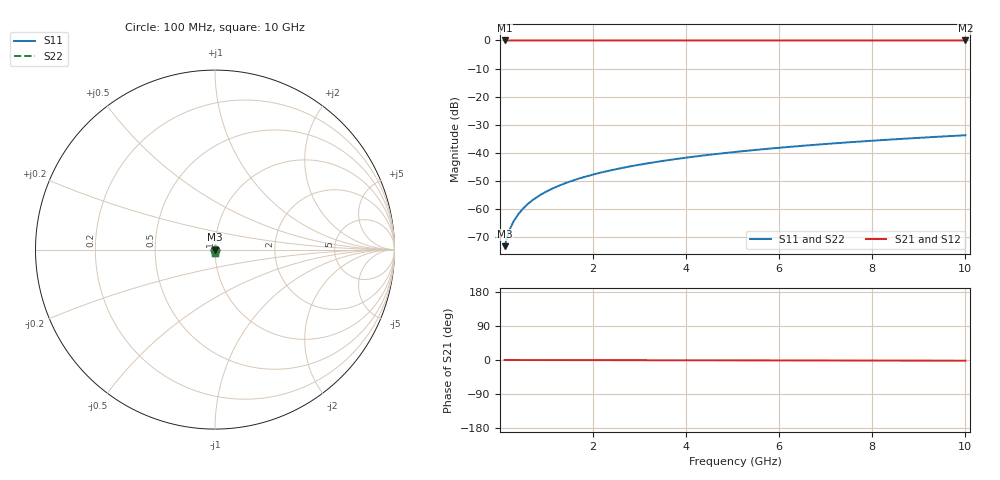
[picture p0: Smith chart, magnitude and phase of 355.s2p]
# Hz S RI R 50.00
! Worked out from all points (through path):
!   100 points, 100 MHz to 10 GHz, reference 50 ohm
!   highest |S21| = 0.00 dB at 100 MHz (marker M1); lowest = 0.0 dB at 10 GHz (marker M2)
!   lowest |S11| = -73.2 dB at 100 MHz (marker M3), VSWR 1.00, Z = 50 - j0.0205 ohm
!   |S11| at or under -10 dB: start of sweep to end of sweep
!   |S22| runs from -73.2 to -33.7 dB; largest |S21 - S12| = 0
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1e8  7.52e-05 -0.000205  0.9999 -0.000321  0.9999 -0.000321  7.52e-05 -0.000205
2e8  7.53e-05 -0.00041  0.9999 -0.000642  0.9999 -0.000642  7.53e-05 -0.00041
3e8  7.51e-05 -0.000616  0.9999 -0.000962  0.9999 -0.000962  7.51e-05 -0.000616
4e8  7.47e-05 -0.000821  0.9999 -0.00128  0.9999 -0.00128  7.47e-05 -0.000821
5e8  7.41e-05 -0.00103  0.9999 -0.0016  0.9999 -0.0016  7.41e-05 -0.00103
6e8  7.33e-05 -0.00123  0.9999 -0.00192  0.9999 -0.00192  7.33e-05 -0.00123
7e8  7.24e-05 -0.00144  0.9999 -0.00225  0.9999 -0.00225  7.24e-05 -0.00144
8e8  7.14e-05 -0.00164  0.9999 -0.00257  0.9999 -0.00257  7.14e-05 -0.00164
9e8  7.02e-05 -0.00185  0.9999 -0.00289  0.9999 -0.00289  7.02e-05 -0.00185
1.1e9  6.74e-05 -0.00226  0.9999 -0.00353  0.9999 -0.00353  6.74e-05 -0.00226
1.4e9  6.22e-05 -0.00287  0.9999 -0.00449  0.9999 -0.00449  6.22e-05 -0.00287
1.8e9  5.33e-05 -0.00369  0.9999 -0.00578  0.9999 -0.00578  5.33e-05 -0.00369
2.1e9  4.52e-05 -0.00431  0.9999 -0.00674  0.9999 -0.00674  4.52e-05 -0.00431
2.5e9  3.26e-05 -0.00513  0.9999 -0.00802  0.9999 -0.00802  3.26e-05 -0.00513
2.9e9  1.78e-05 -0.00595  0.9999 -0.00931  0.9999 -0.00931  1.78e-05 -0.00595
3.4e9  -3.68e-06 -0.00698  0.9998 -0.0109  0.9998 -0.0109  -3.68e-06 -0.00698
4.2e9  -4.49e-05 -0.00862  0.9998 -0.0135  0.9998 -0.0135  -4.49e-05 -0.00862
5.1e9  -0.000101 -0.0105  0.9997 -0.0164  0.9997 -0.0164  -0.000101 -0.0105
5.9e9  -0.000161 -0.0121  0.9996 -0.0189  0.9996 -0.0189  -0.000161 -0.0121
6.7e9  -0.000229 -0.0138  0.9996 -0.0215  0.9996 -0.0215  -0.000229 -0.0138
8.4e9  -0.000401 -0.0173  0.9994 -0.027  0.9994 -0.027  -0.000401 -0.0173
1e10  -0.000598 -0.0206  0.9992 -0.0321  0.9992 -0.0321  -0.000598 -0.0206
